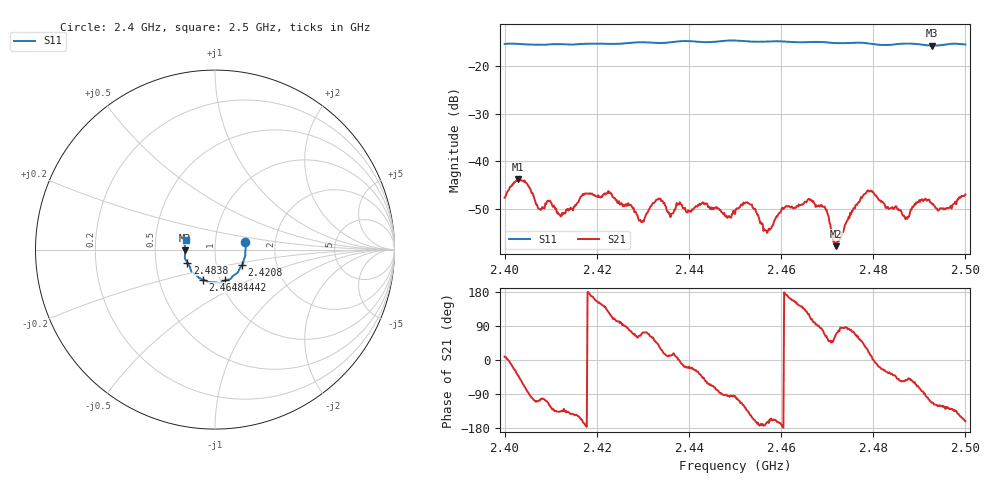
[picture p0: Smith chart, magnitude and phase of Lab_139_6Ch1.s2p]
# Hz S RI R 50
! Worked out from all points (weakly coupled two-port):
!   601 points, 2.4 GHz to 2.5 GHz, reference 50 ohm
!   highest |S21| = -43.83 dB at 2.4028 GHz (marker M1); lowest = -57.9 dB at 2.472 GHz (marker M2)
!   lowest |S11| = -15.6 dB at 2.4928 GHz (marker M3), VSWR 1.40, Z = 35.8 - j0.365 ohm
!   |S11| at or under -10 dB: start of sweep to end of sweep
!   S12 and S22 are empty: the file has one direction only
!   S11 on the Smith chart (normalised r, x): 2.4 GHz: 1.40, +0.12; 2.4208 GHz: 1.33, -0.24; 2.4442 GHz: 1.05, -0.37; 2.4648 GHz: 0.83, -0.29; 2.4838 GHz: 0.73, -0.11; 2.5 GHz: 0.72, +0.08
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2.4e9  0.1677 0.0411  0.00408 0.000631  0 0  0 0
2.402833e9  0.1714 0.0257  0.00495 -0.00411  0 0  0 0
2.411833e9  0.1676 -0.0378  -0.00202 -0.00189  0 0  0 0
2.416667e9  0.1589 -0.0681  -0.00392 -0.00172  0 0  0 0
2.420833e9  0.1506 -0.0873  -0.00352 0.00217  0 0  0 0
2.429667e9  0.1254 -0.1293  0.000856 0.00211  0 0  0 0
2.433333e9  0.1078 -0.1401  0.00298 0.0026  0 0  0 0
2.436167e9  0.0937 -0.154  0.00271 0.000584  0 0  0 0
2.444167e9  0.0568 -0.1714  0.00154 -0.0029  0 0  0 0
2.45e9  0.0244 -0.1863  -0.000247 -0.00277  0 0  0 0
2.453167e9  0.00751 -0.1835  -0.00283 -0.00212  0 0  0 0
2.456667e9  -0.0182 -0.1821  -0.00183 -0.000379  0 0  0 0
2.464833e9  -0.0683 -0.1668  -0.00253 0.00248  0 0  0 0
2.466667e9  -0.0799 -0.1627  -0.00119 0.00364  0 0  0 0
2.469667e9  -0.0919 -0.1548  0.00144 0.00274  0 0  0 0
2.472e9  -0.1019 -0.1438  0.000448 0.00119  0 0  0 0
2.4785e9  -0.1356 -0.1126  0.00397 0.00248  0 0  0 0
2.483333e9  -0.1505 -0.0762  0.00257 -0.00179  0 0  0 0
2.483833e9  -0.1533 -0.0722  0.00256 -0.00195  0 0  0 0
2.487333e9  -0.1672 -0.0508  0.00149 -0.00197  0 0  0 0
2.492833e9  -0.1658 -0.00496  -0.00134 -0.00324  0 0  0 0
2.5e9  -0.1623 0.0528  -0.00424 -0.00144  0 0  0 0
